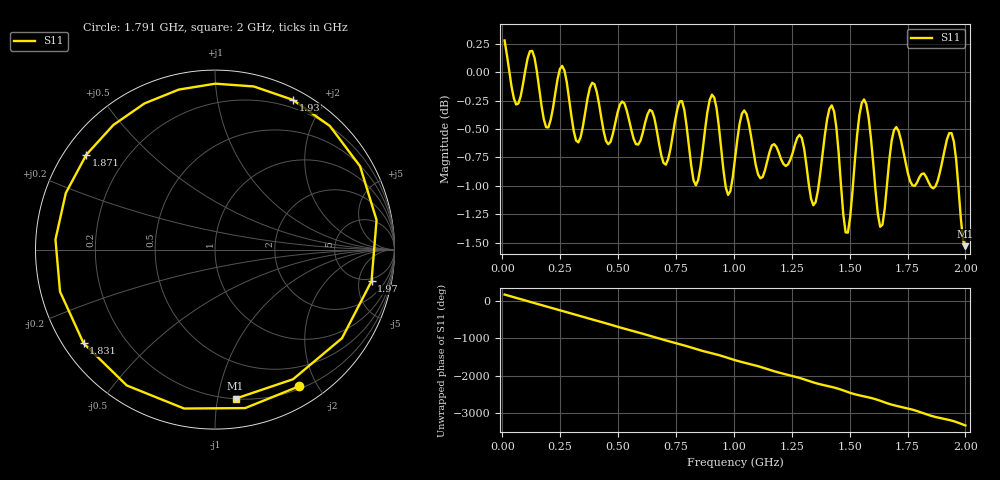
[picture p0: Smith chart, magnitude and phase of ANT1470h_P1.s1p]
!Created with skrf (http://scikit-rf.org).
# Hz S RI R 50.0
!freq ReS11 ImS11
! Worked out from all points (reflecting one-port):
!   201 points, 10 MHz to 2 GHz, reference 50 ohm
!   lowest |S11| = -1.5 dB at 2 GHz (marker M1), VSWR 11.37, Z = 10.1 - j56.3 ohm
!   phase of S11 starts at 162 deg and turns -3484 deg over the sweep
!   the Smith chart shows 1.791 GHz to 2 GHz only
!   S11 on the Smith chart (normalised r, x): 1.791 GHz: 0.23, -1.77; 1.831 GHz: 0.06, -0.32; 1.871 GHz: 0.06, +0.33; 1.93 GHz: 0.11, +1.64; 1.97 GHz: 4.40, -7.43; 2 GHz: 0.20, -1.13
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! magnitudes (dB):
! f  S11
! 10 MHz  0.3
! 129.4 MHz  0.2
! 189.1 MHz  -0.5
! 258.8 MHz  0.1
! 328.4 MHz  -0.6
! 507.5 MHz  -0.3
! 706.5 MHz  -0.8
! 756.2 MHz  -0.3
! 835.9 MHz  -1.0
! 905.5 MHz  -0.2
! 975.1 MHz  -1.1
! 1.005 GHz  -0.8
! 1.045 GHz  -0.3
! 1.114 GHz  -0.9
! 1.254 GHz  -0.7
! 1.343 GHz  -1.2
! 1.423 GHz  -0.3
! 1.502 GHz  -1.3
! 1.562 GHz  -0.2
! 1.632 GHz  -1.4
! 1.692 GHz  -0.5
! 1.751 GHz  -0.9
! 1.791 GHz  -1.0
! 1.831 GHz  -0.9
! 1.871 GHz  -1.0
! 1.93 GHz  -0.5
! 1.97 GHz  -1.0
! 2 GHz  -1.5
